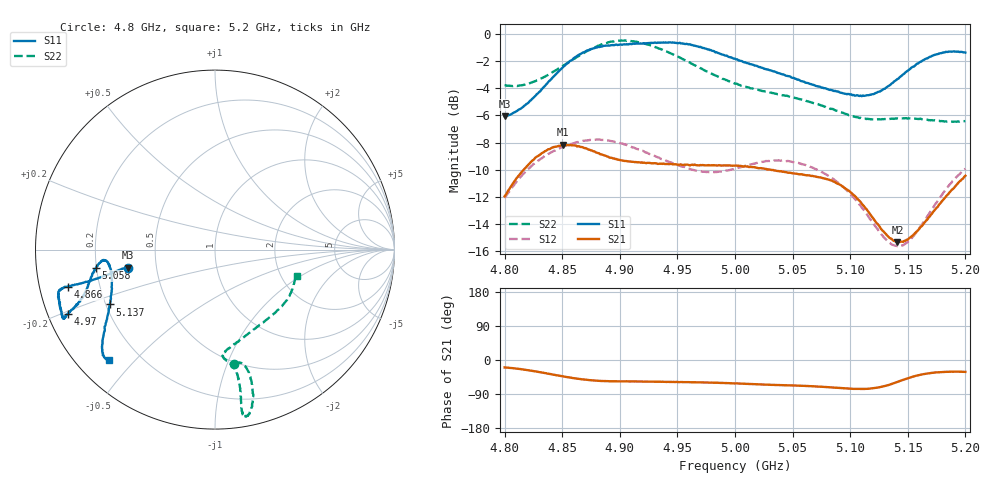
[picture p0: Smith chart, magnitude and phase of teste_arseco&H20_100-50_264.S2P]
! Network Analyzer HP8722D
! Hewlett-Packard
! Data name: Linha & Wilkinson
! Saver's name: Rodrigo Anjos
! Comments: Teste da utilização de aquisição
! continua pelo VNA HP8722D
! Time and date: 6/5/2025 14:46
!  Frequency  S11  S21  S12  S22
# HZ  S  MA R 50
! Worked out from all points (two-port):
!   401 points, 4.8 GHz to 5.2 GHz, reference 50 ohm
!   highest |S21| = -8.15 dB at 4.851 GHz (marker M1); lowest = -15.3 dB at 5.141 GHz (marker M2)
!   |S21| within 3 dB of the highest: 4.806 GHz to 5.092 GHz (286.1 MHz wide, 5.78 % of centre); 5.191885 GHz to end of sweep
!   lowest |S11| = -6.1 dB at 4.8 GHz (marker M3), VSWR 2.97, Z = 17 - j4.57 ohm
!   |S11| at or under -10 dB: nowhere
!   |S22| runs from -6.5 to -0.5 dB; largest |S21 - S12| = 0.62
!   S11 on the Smith chart (normalised r, x): 4.8 GHz: 0.34, -0.09; 4.866 GHz: 0.09, -0.12; 4.97 GHz: 0.06, -0.21; 5.058 GHz: 0.20, -0.07; 5.137 GHz: 0.22, -0.23; 5.2 GHz: 0.09, -0.42
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4.8e9  0.4968 -168.2  0.2526 -19.7  0.2487 -140.9  0.6474 -80.4
4.826e9  0.5877 -167.3  0.3474 -29.7  0.3334 -144.6  0.668 -75.6
4.851e9  0.7561 -165.9  0.3913 -43.4  0.3845 -149.3  0.7648 -74.6
4.866e9  0.8434 -165.7  0.3837 -50.4  0.4023 -151.9  0.8376 -75.2
4.867e9  0.8483 -165.9  0.3837 -50.8  0.4028 -152.0  0.8424 -75.4
4.881e9  0.8958 -165.5  0.3646 -54.7  0.4085 -154.5  0.904 -77.0
4.899e9  0.9117 -162.9  0.344 -56.5  0.3979 -156.7  0.9435 -79.1
4.915e9  0.9198 -159.4  0.3371 -56.8  0.3771 -157.2  0.9338 -80.4
4.934e9  0.9275 -156.4  0.3329 -57.4  0.3509 -155.7  0.8821 -80.5
4.97e9  0.8954 -156.4  0.3293 -59.2  0.3124 -147.0  0.7475 -79.7
5e9  0.8104 -159.0  0.3275 -61.9  0.3197 -137.3  0.6562 -81.2
5.034e9  0.7274 -165.3  0.3144 -65.8  0.3421 -134.4  0.6043 -85.6
5.058e9  0.6696 -171.3  0.3045 -68.1  0.3315 -136.1  0.5735 -84.5
5.067e9  0.6503 -173.1  0.3004 -69.2  0.3225 -136.8  0.5582 -82.6
5.087e9  0.6169 -174.5  0.2845 -73.1  0.2892 -138.6  0.5233 -74.9
5.104e9  0.5927 -171.0  0.2534 -76.1  0.2472 -138.5  0.4951 -64.6
5.134e9  0.6461 -154.2  0.178 -65.2  0.1705 -120.6  0.4863 -43.4
5.137e9  0.6605 -152.4  0.1742 -62.2  0.1675 -116.9  0.4878 -41.5
5.141e9  0.6821 -150.2  0.1713 -57.9  0.1657 -111.6  0.4885 -39.0
5.154e9  0.7552 -144.5  0.1808 -44.3  0.1788 -95.0  0.4876 -32.3
5.173e9  0.836 -138.9  0.224 -33.4  0.2332 -80.8  0.4809 -24.3
5.2e9  0.8527 -133.7  0.3007 -31.4  0.3194 -76.9  0.4777 -17.6
